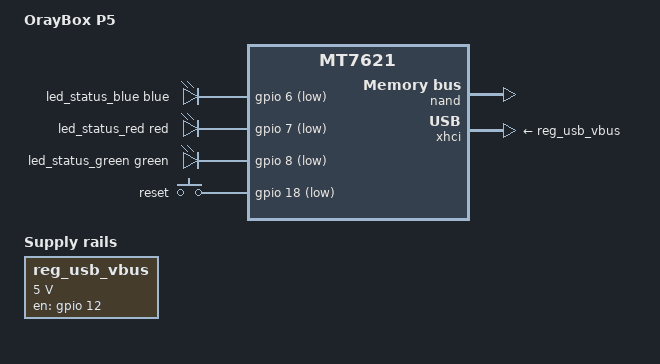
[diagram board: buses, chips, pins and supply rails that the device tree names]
// SPDX-License-Identifier: GPL-2.0-or-later OR MIT

#include "mt7621.dtsi"

#include <dt-bindings/gpio/gpio.h>
#include <dt-bindings/input/input.h>
#include <dt-bindings/leds/common.h>

/ {
	compatible = "oraybox,p5", "mediatek,mt7621-soc";
	model = "OrayBox P5";

	aliases {
		led-boot = &led_status_green;
		led-failsafe = &led_status_red;
		led-running = &led_status_blue;
		led-upgrade = &led_status_green;
		label-mac-device = &gmac0;
	};

	chosen {
		bootargs = "console=ttyS0,115200";
	};

	leds {
		compatible = "gpio-leds";

		led_status_blue: led-status-blue {
			color = <LED_COLOR_ID_BLUE>;
			function = LED_FUNCTION_STATUS;
			gpios = <&gpio 6 GPIO_ACTIVE_LOW>;
		};

		led_status_red: led-status-red {
			color = <LED_COLOR_ID_RED>;
			function = LED_FUNCTION_STATUS;
			gpios = <&gpio 7 GPIO_ACTIVE_LOW>;
			panic-indicator;
		};

		led_status_green: led-status-green {
			color = <LED_COLOR_ID_GREEN>;
			function = LED_FUNCTION_STATUS;
			gpios = <&gpio 8 GPIO_ACTIVE_LOW>;
		};
	};

	keys {
		compatible = "gpio-keys";

		button-reset {
			label = "reset";
			gpios = <&gpio 18 GPIO_ACTIVE_LOW>;
			linux,code = <KEY_RESTART>;
		};
	};

	reg_usb_vbus: regulator {
		compatible = "regulator-fixed";
		regulator-name = "usb_vbus";
		regulator-min-microvolt = <5000000>;
		regulator-max-microvolt = <5000000>;
		gpio = <&gpio 12 GPIO_ACTIVE_HIGH>;
		enable-active-high;
	};

	ubi-concat {
		compatible = "mtd-concat";
		devices = <&ubiconcat0 &ubiconcat1>;

		partitions {
			compatible = "fixed-partitions";
			#address-cells = <1>;
			#size-cells = <1>;

			partition@0 {
				label = "ubi";
				reg = <0x0 0x78c0000>;
			};
		};
	};
};

&nand {
	status = "okay";

	partitions {
		compatible = "fixed-partitions";
		#address-cells = <1>;
		#size-cells = <1>;

		partition@0 {
			label = "u-boot";
			reg = <0x0 0x80000>;
			read-only;
		};

		partition@80000 {
			label = "kpanic";
			reg = <0x80000 0x20000>;
		};

		partition@100000 {
			label = "factory";
			reg = <0x100000 0x40000>;
			read-only;
		};

		partition@140000 {
			label = "kernel";
			reg = <0x140000 0x400000>;
			read-only;
		};

		ubiconcat0: partition@540000 {
			label = "ubi file system 0";
			reg = <0x540000 0x1c00000>;
		};
		
		partition@2140000 {
			label = "debug";
			reg = <0x2140000 0x80000>;
		};

		partition@21c0000 {
			label = "bdinfo";
			reg = <0x21c0000 0x80000>;
			read-only;

			nvmem-layout {
				compatible = "fixed-layout";
				#address-cells = <1>;
				#size-cells = <1>;

				macaddr_bdinfo_9: macaddr@9 {
					reg = <0x9 0x6>;
				};
			};
		};

		partition@2240000 {
			label = "reserve";
			reg = <0x2240000 0x80000>;
			read-only;
		};

		ubiconcat1: partition@22c0000 {
			label = "ubi file system 1";
			reg = <0x22c0000 0x5cc0000>;
		};	

		partition@7f80000 {
			label = "opt";
			reg = <0x7f80000 0x80000>;
		};
	};
};

&gmac0 {
	nvmem-cells = <&macaddr_bdinfo_9>;
	nvmem-cell-names = "mac-address";
};

&switch0 {
	ports {
		port@3 {
			status = "okay";
			label = "lan";
		};
	};
};

&state_default {
	gpio {
		groups = "jtag", "wdt", "uart3";
		function = "gpio";
	};
};

&xhci {
	vbus-supply = <&reg_usb_vbus>;
};
